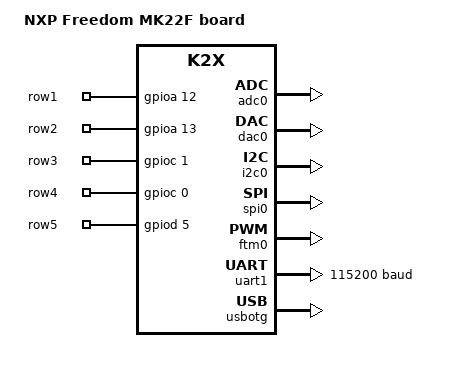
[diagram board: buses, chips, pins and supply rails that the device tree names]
/dts-v1/;

#include <nxp/nxp_k2x.dtsi>
#include <zephyr/dt-bindings/pwm/pwm.h>
#include <nxp/kinetis/MK22FN512VLH12-pinctrl.h>

&pinctrl {
    ftm0_default: ftm0_default {
        group0 {
            pinmux = <FTM0_CH6_PTA1>,
                <FTM0_CH7_PTA2>;
            drive-strength = "low";
            bias-pull-up;
            slew-rate = "fast";
        };
        group1 {
            pinmux = <FTM0_CH5_PTD5>;
            drive-strength = "low";
            slew-rate = "fast";
        };
    };

    i2c0_default: i2c0_default {
        group0 {
            pinmux = <I2C0_SCL_PTB2>,
                <I2C0_SDA_PTB3>;
            drive-strength = "low";
            drive-open-drain;
            slew-rate = "fast";
        };
    };

    spi0_default: spi0_default {
        group0 {
            pinmux = <SPI0_PCS4_PTC0>,
                <SPI0_SCK_PTD1>,
                <SPI0_SIN_PTD3>,
                <SPI0_SOUT_PTD2>;
            drive-strength = "low";
            slew-rate = "fast";
        };
    };

    uart1_default: uart1_default {
        group0 {
            pinmux = <UART1_RX_PTE1>,
                <UART1_TX_PTE0>;
            drive-strength = "low";
            slew-rate = "fast";
        };
    };

    uart2_default: uart2_default {
        group0 {
            pinmux = <UART2_RX_PTD2>,
                <UART2_TX_PTD3>;
            drive-strength = "low";
            slew-rate = "fast";
        };
    };

};

/ {
    model = "NXP Freedom MK22F board";
    compatible = "nxp,mk22f12", "nxp,k22f", "nxp,k2x";

    gpios {
        compatible = "gpio-keys";

        row1: row1 {
            gpios = <&gpioa 12 (GPIO_ACTIVE_HIGH)>;
            label = "row1";
        };
        row2: row2 {
            gpios = <&gpioa 13 (GPIO_ACTIVE_HIGH)>;
            label = "row2";
        };
        row3: row3 {
            gpios = <&gpioc 1 (GPIO_ACTIVE_HIGH)>;
            label = "row3";
        };
        row4: row4 {
            gpios = <&gpioc 0 (GPIO_ACTIVE_HIGH)>;
            label = "row4";
        };
        row5: row5 {
            gpios = <&gpiod 5 (GPIO_ACTIVE_HIGH)>;
            label = "row5";
        };
    };

    aliases {
        row1 = &row1;
        row2 = &row2;
        row3 = &row3;
        row4 = &row4;
        row5 = &row5;
    };

    chosen {
        zephyr,sram = &sram0;
        zephyr,flash = &flash0;
        zephyr,code-partition = &slot0_partition;
        zephyr,console = &uart1;
        zephyr,shell-uart = &uart1;
        zephyr,uart-pipe = &uart1;
    };
};

&sim {
    pllfll-select = <KINETIS_SIM_PLLFLLSEL_MCGPLLCLK>;
    er32k-select = <KINETIS_SIM_ER32KSEL_RTC>;
};

&adc0 {
    status = "okay";
};

&dac0 {
    status = "okay";
    voltage-reference = <2>;
};
arduino_i2c: &i2c0 {
    status = "okay";
    pinctrl-0 = <&i2c0_default>;
    pinctrl-names = "default";
};


arduino_spi: &spi0 {
    status = "okay";
    pinctrl-0 = <&spi0_default>;
    pinctrl-names = "default";
};

&ftm0 {
    status = "okay";
    compatible = "nxp,kinetis-ftm-pwm";
    #pwm-cells = <3>;
    pinctrl-0 = <&ftm0_default>;
    pinctrl-names = "default";
};

&uart1 {
    status = "okay";
    current-speed = <115200>;
    pinctrl-0 = <&uart1_default>;
    pinctrl-names = "default";
};

&uart2 {
    pinctrl-0 = <&uart2_default>;
    pinctrl-names = "default";
};

zephyr_udc0: &usbotg {
    compatible = "nxp,kinetis-usbd";
    status = "okay";
    num-bidir-endpoints = <8>;
};

&gpioa {
    status = "okay";
};

&gpiob {
    status = "okay";
};

&gpioc {
    status = "okay";
};

&gpiod {
    status = "okay";
};

&gpioe {
    status = "okay";
};

&flash0 {
    partitions {
        compatible = "fixed-partitions";
        #address-cells = <1>;
        #size-cells = <1>;

        boot_partition: partition@0 {
            label = "mcuboot";
            reg = <0x00000000 0x00010000>;
            read-only;
        };
        slot0_partition: partition@10000 {
            label = "image-0";
            reg = <0x00010000 0x00020000>;
        };
        slot1_partition: partition@30000 {
            label = "image-1";
            reg = <0x00030000 0x00020000>;
        };
        scratch_partition: partition@50000 {
            label = "image-scratch";
            reg = <0x00050000 0x00010000>;
        };

        /*
         * The flash starting at 0x00060000 and ending at
         * 0x0007ffff (sectors 16-31) is reserved for use
         * by the application.
         */
        storage_partition: partition@60000 {
            label = "storage";
            reg = <0x00060000 0x00020000>;
        };

    };
};
